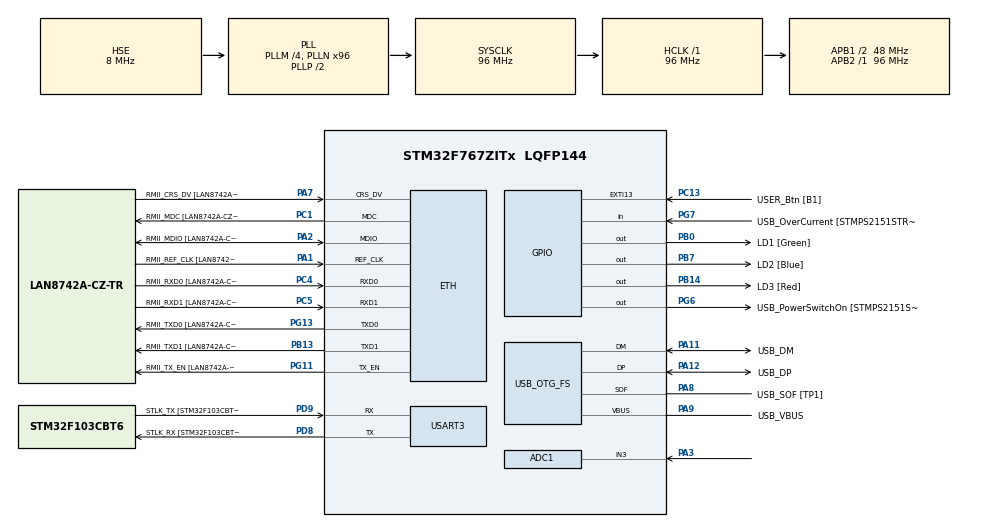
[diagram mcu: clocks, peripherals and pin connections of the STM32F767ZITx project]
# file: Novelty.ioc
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ADC1.Channel-0\#ChannelRegularConversion=ADC_CHANNEL_3
ADC1.ClockPrescaler=ADC_CLOCK_SYNC_PCLK_DIV8
ADC1.ContinuousConvMode=ENABLE
ADC1.DMAContinuousRequests=DISABLE
ADC1.NbrOfConversionFlag=1
ADC1.Rank-0\#ChannelRegularConversion=1
ADC1.SamplingTime-0\#ChannelRegularConversion=ADC_SAMPLETIME_3CYCLES
ADC1.master=1
ETH.MediaInterface=HAL_ETH_RMII_MODE
ETH.PHY_Name=LAN8742A_PHY_ADDRESS
ETH.PHY_Value=0
ETH.PhyAddress=0
Mcu.Family=STM32F7
Mcu.Name=STM32F767ZITx
Mcu.Package=LQFP144
NVIC.EXTI15_10_IRQn=true\:0\:0\:false\:false\:true\:true\:true\:true
NVIC.PriorityGroup=NVIC_PRIORITYGROUP_4
NVIC.TIM6_DAC_IRQn=true\:0\:0\:false\:false\:true\:true\:true\:true
PA1.GPIO_Label=RMII_REF_CLK [LAN8742A-CZ-TR_REFCLK0]
PA1.Mode=RMII
PA1.Signal=ETH_REF_CLK
PA10.GPIO_Label=USB_ID
PA10.Signal=USB_OTG_FS_ID
PA11.GPIO_Label=USB_DM
PA11.Mode=Device_Only
PA11.Signal=USB_OTG_FS_DM
PA12.GPIO_Label=USB_DP
PA12.Mode=Device_Only
PA12.Signal=USB_OTG_FS_DP
PA13.GPIO_Label=TMS
PA13.Mode=Serial_Wire
PA13.Signal=SYS_JTMS-SWDIO
PA14.GPIO_Label=TCK
PA14.Mode=Serial_Wire
PA14.Signal=SYS_JTCK-SWCLK
PA2.GPIO_Label=RMII_MDIO [LAN8742A-CZ-TR_MDIO]
PA2.Mode=RMII
PA2.Signal=ETH_MDIO
PA3.Signal=ADCx_IN3
PA7.GPIO_Label=RMII_CRS_DV [LAN8742A-CZ-TR_CRS_DV]
PA7.Mode=RMII
PA7.Signal=ETH_CRS_DV
PA8.GPIO_Label=USB_SOF [TP1]
PA8.Mode=Activate_SOF_FS
PA8.Signal=USB_OTG_FS_SOF
PA9.GPIO_Label=USB_VBUS
PA9.Mode=Activate_VBUS
PA9.Signal=USB_OTG_FS_VBUS
PB0.GPIO_Label=LD1 [Green]
PB0.Signal=GPIO_Output
PB13.GPIO_Label=RMII_TXD1 [LAN8742A-CZ-TR_TXD1]
PB13.Mode=RMII
PB13.Signal=ETH_TXD1
PB14.GPIO_Label=LD3 [Red]
PB14.Signal=GPIO_Output
PB3.GPIO_Label=SWO
PB3.Signal=SYS_JTDO-SWO
PB7.GPIO_Label=LD2 [Blue]
PB7.Signal=GPIO_Output
PC1.GPIO_Label=RMII_MDC [LAN8742A-CZ-TR_MDC]
PC1.Mode=RMII
PC1.Signal=ETH_MDC
PC13.GPIO_Label=USER_Btn [B1]
PC13.GPIO_PuPd=GPIO_PULLDOWN
PC13.Signal=GPXTI13
PC14/OSC32_IN.Mode=LSE-External-Oscillator
PC14/OSC32_IN.Signal=RCC_OSC32_IN
PC15/OSC32_OUT.Mode=LSE-External-Oscillator
PC15/OSC32_OUT.Signal=RCC_OSC32_OUT
PC4.GPIO_Label=RMII_RXD0 [LAN8742A-CZ-TR_RXD0]
PC4.Mode=RMII
PC4.Signal=ETH_RXD0
PC5.GPIO_Label=RMII_RXD1 [LAN8742A-CZ-TR_RXD1]
PC5.Mode=RMII
PC5.Signal=ETH_RXD1
PD8.GPIO_Label=STLK_RX [STM32F103CBT6_PA3]
PD8.Mode=Asynchronous
PD8.Signal=USART3_TX
PD9.GPIO_Label=STLK_TX [STM32F103CBT6_PA2]
PD9.Mode=Asynchronous
PD9.Signal=USART3_RX
PG11.GPIO_Label=RMII_TX_EN [LAN8742A-CZ-TR_TXEN]
PG11.Mode=RMII
PG11.Signal=ETH_TX_EN
PG13.GPIO_Label=RMII_TXD0 [LAN8742A-CZ-TR_TXD0]
PG13.Mode=RMII
PG13.Signal=ETH_TXD0
PG6.GPIO_Label=USB_PowerSwitchOn [STMPS2151STR_EN]
PG6.Signal=GPIO_Output
PG7.GPIO_Label=USB_OverCurrent [STMPS2151STR_FAULT]
PG7.Signal=GPIO_Input
PH0/OSC_IN.GPIO_Label=MCO [STM32F103CBT6_PA8]
PH0/OSC_IN.Mode=HSE-External-Clock-Source
PH0/OSC_IN.Signal=RCC_OSC_IN
PH1/OSC_OUT.Mode=HSE-External-Clock-Source
PH1/OSC_OUT.Signal=RCC_OSC_OUT
ProjectManager.HeapSize=0x200
ProjectManager.StackSize=0x400
ProjectManager.TargetToolchain=STM32CubeIDE
RCC.48MHZClocksFreq_Value=24000000
RCC.AHBFreq_Value=96000000
RCC.APB1CLKDivider=RCC_HCLK_DIV2
RCC.APB1Freq_Value=48000000
RCC.APB1TimFreq_Value=96000000
RCC.APB2Freq_Value=96000000
RCC.APB2TimFreq_Value=96000000
RCC.CortexFreq_Value=96000000
RCC.HCLKFreq_Value=96000000
RCC.HSE_VALUE=8000000
RCC.HSI_VALUE=16000000
RCC.PLLM=4
RCC.PLLMUL=RCC_PLL_MUL9
RCC.PLLN=96
RCC.PLLQ=4
RCC.PRESCALERUSB=RCC_USBCLKSOURCE_PLL_DIV1_5
RCC.SYSCLKFreq_VALUE=96000000
RCC.SYSCLKSource=RCC_SYSCLKSOURCE_PLLCLK
RCC.SYSCLKSourceVirtual=RCC_SYSCLKSOURCE_PLLCLK
RCC.USBFreq_Value=48000000
RCC.VCOOutputFreq_Value=192000000
SH.ADCx_IN3.0=ADC1_IN3,IN3
TIM6.Period=800-1
TIM6.Prescaler=24-1
USART3.VirtualMode-Asynchronous=VM_ASYNC
USB_OTG_FS.VirtualMode=Device_Only
VP_RTC_VS_RTC_Activate.Mode=RTC_Enabled
VP_TIM6_VS_ClockSourceINT.Mode=Enable_Timer
board=NUCLEO-F767ZI

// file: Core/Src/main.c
/* USER CODE BEGIN Header */
/**
  ******************************************************************************
  * @file           : main.c
  * @brief          : Main program body
  ******************************************************************************
  * @attention
  *
  * Copyright (c) 2023 STMicroelectronics.
  * All rights reserved.
  *
  * This software is licensed under terms that can be found in the LICENSE file
  * in the root directory of this software component.
  * If no LICENSE file comes with this software, it is provided AS-IS.
  *
  ******************************************************************************
  */
/* USER CODE END Header */
#include "main.h"
#include "string.h"

/* USER CODE BEGIN Includes */
#include "mylib.h"
#include <stdbool.h>
#include <stdlib.h>
#include <stdint.h>
#include "wavelib.h"
#include "retarget.h"
/* USER CODE END Includes */

/* USER CODE BEGIN PD */
#define ADC_BUF_LEN 5000 // 5000 samples at 5kHz -> 1s snapshot
#define TREE_DEPTH 6 	// wavelet tree decomposiiton depth 6-> 2^6=64 features
/* USER CODE END PD */

#if defined ( __ICCARM__ ) /*!< IAR Compiler */
#pragma location=0x2007c000
ETH_DMADescTypeDef  DMARxDscrTab[ETH_RX_DESC_CNT]; /* Ethernet Rx DMA Descriptors */
#pragma location=0x2007c0a0
ETH_DMADescTypeDef  DMATxDscrTab[ETH_TX_DESC_CNT]; /* Ethernet Tx DMA Descriptors */

#elif defined ( __CC_ARM )  /* MDK ARM Compiler */

__attribute__((at(0x2007c000))) ETH_DMADescTypeDef  DMARxDscrTab[ETH_RX_DESC_CNT]; /* Ethernet Rx DMA Descriptors */
__attribute__((at(0x2007c0a0))) ETH_DMADescTypeDef  DMATxDscrTab[ETH_TX_DESC_CNT]; /* Ethernet Tx DMA Descriptors */

#elif defined ( __GNUC__ ) /* GNU Compiler */
ETH_DMADescTypeDef DMARxDscrTab[ETH_RX_DESC_CNT] __attribute__((section(".RxDecripSection"))); /* Ethernet Rx DMA Descriptors */
ETH_DMADescTypeDef DMATxDscrTab[ETH_TX_DESC_CNT] __attribute__((section(".TxDecripSection")));   /* Ethernet Tx DMA Descriptors */

#endif

ETH_TxPacketConfig TxConfig;

ADC_HandleTypeDef hadc1;

ETH_HandleTypeDef heth;

RTC_HandleTypeDef hrtc;

TIM_HandleTypeDef htim6;

UART_HandleTypeDef huart3;

PCD_HandleTypeDef hpcd_USB_OTG_FS;

/* USER CODE BEGIN PV */
uint16_t adc_buf[ADC_BUF_LEN]; // reserve a buffer for the analogue readings
uint16_t timer_index;
bool snap_flag;

/* USER CODE END PV */

void SystemClock_Config(void);
static void MX_GPIO_Init(void);
static void MX_USART3_UART_Init(void);
static void MX_USB_OTG_FS_PCD_Init(void);
static void MX_ADC1_Init(void);
static void MX_ETH_Init(void);
static void MX_TIM6_Init(void);
static void MX_RTC_Init(void);

int main(void)
{
  /* USER CODE BEGIN 1 */
	timer_index = 0;
	snap_flag = true; // begin with inibiiton of acquisition, set to false later

  /* USER CODE END 1 */

  /* MCU Configuration--------------------------------------------------------*/

  /* Reset of all peripherals, Initializes the Flash interface and the Systick. */
  HAL_Init();

  /* Configure the system clock */
  SystemClock_Config();

  /* USER CODE BEGIN SysInit */
  RetargetInit(&huart3); // redirect the printf() and scanf() function to huart
  /* USER CODE END SysInit */

  /* Initialize all configured peripherals */
  MX_GPIO_Init();
  MX_USART3_UART_Init();
  MX_USB_OTG_FS_PCD_Init();
  MX_ADC1_Init();
  MX_ETH_Init();
  MX_TIM6_Init();
  MX_RTC_Init();
  /* USER CODE BEGIN 2 */
  HAL_TIM_Base_Start_IT(&htim6);  // start the timer
  /* USER CODE END 2 */

  /* Infinite loop */
  while (1){

  }
}

void SystemClock_Config(void)
{
  RCC_OscInitTypeDef RCC_OscInitStruct = {0};
  RCC_ClkInitTypeDef RCC_ClkInitStruct = {0};

  /** Configure LSE Drive Capability
  */
  HAL_PWR_EnableBkUpAccess();

  /** Configure the main internal regulator output voltage
  */
  __HAL_RCC_PWR_CLK_ENABLE();
  __HAL_PWR_VOLTAGESCALING_CONFIG(PWR_REGULATOR_VOLTAGE_SCALE3);

  /** Initializes the RCC Oscillators according to the specified parameters
  * in the RCC_OscInitTypeDef structure.
  */
  RCC_OscInitStruct.OscillatorType = RCC_OSCILLATORTYPE_LSI|RCC_OSCILLATORTYPE_HSE;
  RCC_OscInitStruct.HSEState = RCC_HSE_BYPASS;
  RCC_OscInitStruct.LSIState = RCC_LSI_ON;
  RCC_OscInitStruct.PLL.PLLState = RCC_PLL_ON;
  RCC_OscInitStruct.PLL.PLLSource = RCC_PLLSOURCE_HSE;
  RCC_OscInitStruct.PLL.PLLM = 4;
  RCC_OscInitStruct.PLL.PLLN = 96;
  RCC_OscInitStruct.PLL.PLLP = RCC_PLLP_DIV2;
  RCC_OscInitStruct.PLL.PLLQ = 4;
  RCC_OscInitStruct.PLL.PLLR = 2;
  if (HAL_RCC_OscConfig(&RCC_OscInitStruct) != HAL_OK)
  {
    Error_Handler();
  }

  /** Activate the Over-Drive mode
  */
  if (HAL_PWREx_EnableOverDrive() != HAL_OK)
  {
    Error_Handler();
  }

  /** Initializes the CPU, AHB and APB buses clocks
  */
  RCC_ClkInitStruct.ClockType = RCC_CLOCKTYPE_HCLK|RCC_CLOCKTYPE_SYSCLK
                              |RCC_CLOCKTYPE_PCLK1|RCC_CLOCKTYPE_PCLK2;
  RCC_ClkInitStruct.SYSCLKSource = RCC_SYSCLKSOURCE_PLLCLK;
  RCC_ClkInitStruct.AHBCLKDivider = RCC_SYSCLK_DIV1;
  RCC_ClkInitStruct.APB1CLKDivider = RCC_HCLK_DIV2;
  RCC_ClkInitStruct.APB2CLKDivider = RCC_HCLK_DIV1;

  if (HAL_RCC_ClockConfig(&RCC_ClkInitStruct, FLASH_LATENCY_3) != HAL_OK)
  {
    Error_Handler();
  }
}

static void MX_ADC1_Init(void)
{

  ADC_ChannelConfTypeDef sConfig = {0};

  /** Configure the global features of the ADC (Clock, Resolution, Data Alignment and number of conversion)
  */
  hadc1.Instance = ADC1;
  hadc1.Init.ClockPrescaler = ADC_CLOCK_SYNC_PCLK_DIV8;
  hadc1.Init.Resolution = ADC_RESOLUTION_12B;
  hadc1.Init.ScanConvMode = ADC_SCAN_DISABLE;
  hadc1.Init.ContinuousConvMode = ENABLE;
  hadc1.Init.DiscontinuousConvMode = DISABLE;
  hadc1.Init.ExternalTrigConvEdge = ADC_EXTERNALTRIGCONVEDGE_NONE;
  hadc1.Init.ExternalTrigConv = ADC_SOFTWARE_START;
  hadc1.Init.DataAlign = ADC_DATAALIGN_RIGHT;
  hadc1.Init.NbrOfConversion = 1;
  hadc1.Init.DMAContinuousRequests = DISABLE;
  hadc1.Init.EOCSelection = ADC_EOC_SINGLE_CONV;
  if (HAL_ADC_Init(&hadc1) != HAL_OK)
  {
    Error_Handler();
  }

  /** Configure for the selected ADC regular channel its corresponding rank in the sequencer and its sample time.
  */
  sConfig.Channel = ADC_CHANNEL_3;
  sConfig.Rank = ADC_REGULAR_RANK_1;
  sConfig.SamplingTime = ADC_SAMPLETIME_3CYCLES;
  if (HAL_ADC_ConfigChannel(&hadc1, &sConfig) != HAL_OK)
  {
    Error_Handler();
  }

}

static void MX_ETH_Init(void)
{

   static uint8_t MACAddr[6];

  heth.Instance = ETH;
  MACAddr[0] = 0x00;
  MACAddr[1] = 0x80;
  MACAddr[2] = 0xE1;
  MACAddr[3] = 0x00;
  MACAddr[4] = 0x00;
  MACAddr[5] = 0x00;
  heth.Init.MACAddr = &MACAddr[0];
  heth.Init.MediaInterface = HAL_ETH_RMII_MODE;
  heth.Init.TxDesc = DMATxDscrTab;
  heth.Init.RxDesc = DMARxDscrTab;
  heth.Init.RxBuffLen = 1524;

  if (HAL_ETH_Init(&heth) != HAL_OK)
  {
    Error_Handler();
  }

  memset(&TxConfig, 0 , sizeof(ETH_TxPacketConfig));
  TxConfig.Attributes = ETH_TX_PACKETS_FEATURES_CSUM | ETH_TX_PACKETS_FEATURES_CRCPAD;
  TxConfig.ChecksumCtrl = ETH_CHECKSUM_IPHDR_PAYLOAD_INSERT_PHDR_CALC;
  TxConfig.CRCPadCtrl = ETH_CRC_PAD_INSERT;

}

static void MX_RTC_Init(void)
{

  /** Initialize RTC Only
  */
  hrtc.Instance = RTC;
  hrtc.Init.HourFormat = RTC_HOURFORMAT_24;
  hrtc.Init.AsynchPrediv = 127;
  hrtc.Init.SynchPrediv = 255;
  hrtc.Init.OutPut = RTC_OUTPUT_DISABLE;
  hrtc.Init.OutPutPolarity = RTC_OUTPUT_POLARITY_HIGH;
  hrtc.Init.OutPutType = RTC_OUTPUT_TYPE_OPENDRAIN;
  if (HAL_RTC_Init(&hrtc) != HAL_OK)
  {
    Error_Handler();
  }

}

static void MX_TIM6_Init(void)
{

  TIM_MasterConfigTypeDef sMasterConfig = {0};

  htim6.Instance = TIM6;
  htim6.Init.Prescaler = 24-1;
  htim6.Init.CounterMode = TIM_COUNTERMODE_UP;
  htim6.Init.Period = 800-1;
  htim6.Init.AutoReloadPreload = TIM_AUTORELOAD_PRELOAD_DISABLE;
  if (HAL_TIM_Base_Init(&htim6) != HAL_OK)
  {
    Error_Handler();
  }
  sMasterConfig.MasterOutputTrigger = TIM_TRGO_RESET;
  sMasterConfig.MasterSlaveMode = TIM_MASTERSLAVEMODE_DISABLE;
  if (HAL_TIMEx_MasterConfigSynchronization(&htim6, &sMasterConfig) != HAL_OK)
  {
    Error_Handler();
  }

}

static void MX_USART3_UART_Init(void)
{

  huart3.Instance = USART3;
  huart3.Init.BaudRate = 115200;
  huart3.Init.WordLength = UART_WORDLENGTH_8B;
  huart3.Init.StopBits = UART_STOPBITS_1;
  huart3.Init.Parity = UART_PARITY_NONE;
  huart3.Init.Mode = UART_MODE_TX_RX;
  huart3.Init.HwFlowCtl = UART_HWCONTROL_NONE;
  huart3.Init.OverSampling = UART_OVERSAMPLING_16;
  huart3.Init.OneBitSampling = UART_ONE_BIT_SAMPLE_DISABLE;
  huart3.AdvancedInit.AdvFeatureInit = UART_ADVFEATURE_NO_INIT;
  if (HAL_UART_Init(&huart3) != HAL_OK)
  {
    Error_Handler();
  }

}

static void MX_USB_OTG_FS_PCD_Init(void)
{

  hpcd_USB_OTG_FS.Instance = USB_OTG_FS;
  hpcd_USB_OTG_FS.Init.dev_endpoints = 6;
  hpcd_USB_OTG_FS.Init.speed = PCD_SPEED_FULL;
  hpcd_USB_OTG_FS.Init.dma_enable = DISABLE;
  hpcd_USB_OTG_FS.Init.phy_itface = PCD_PHY_EMBEDDED;
  hpcd_USB_OTG_FS.Init.Sof_enable = ENABLE;
  hpcd_USB_OTG_FS.Init.low_power_enable = DISABLE;
  hpcd_USB_OTG_FS.Init.lpm_enable = DISABLE;
  hpcd_USB_OTG_FS.Init.vbus_sensing_enable = ENABLE;
  hpcd_USB_OTG_FS.Init.use_dedicated_ep1 = DISABLE;
  if (HAL_PCD_Init(&hpcd_USB_OTG_FS) != HAL_OK)
  {
    Error_Handler();
  }

}

static void MX_GPIO_Init(void)
{
  GPIO_InitTypeDef GPIO_InitStruct = {0};

  /* GPIO Ports Clock Enable */
  __HAL_RCC_GPIOC_CLK_ENABLE();
  __HAL_RCC_GPIOH_CLK_ENABLE();
  __HAL_RCC_GPIOA_CLK_ENABLE();
  __HAL_RCC_GPIOB_CLK_ENABLE();
  __HAL_RCC_GPIOD_CLK_ENABLE();
  __HAL_RCC_GPIOG_CLK_ENABLE();

  /*Configure GPIO pin Output Level */
  HAL_GPIO_WritePin(GPIOB, LD1_Pin|LD3_Pin|LD2_Pin, GPIO_PIN_RESET);

  /*Configure GPIO pin Output Level */
  HAL_GPIO_WritePin(USB_PowerSwitchOn_GPIO_Port, USB_PowerSwitchOn_Pin, GPIO_PIN_RESET);

  /*Configure GPIO pin : USER_Btn_Pin */
  GPIO_InitStruct.Pin = USER_Btn_Pin;
  GPIO_InitStruct.Mode = GPIO_MODE_IT_RISING;
  GPIO_InitStruct.Pull = GPIO_PULLDOWN;
  HAL_GPIO_Init(USER_Btn_GPIO_Port, &GPIO_InitStruct);

  /*Configure GPIO pins : LD1_Pin LD3_Pin LD2_Pin */
  GPIO_InitStruct.Pin = LD1_Pin|LD3_Pin|LD2_Pin;
  GPIO_InitStruct.Mode = GPIO_MODE_OUTPUT_PP;
  GPIO_InitStruct.Pull = GPIO_NOPULL;
  GPIO_InitStruct.Speed = GPIO_SPEED_FREQ_LOW;
  HAL_GPIO_Init(GPIOB, &GPIO_InitStruct);

  /*Configure GPIO pin : USB_PowerSwitchOn_Pin */
  GPIO_InitStruct.Pin = USB_PowerSwitchOn_Pin;
  GPIO_InitStruct.Mode = GPIO_MODE_OUTPUT_PP;
  GPIO_InitStruct.Pull = GPIO_NOPULL;
  GPIO_InitStruct.Speed = GPIO_SPEED_FREQ_LOW;
  HAL_GPIO_Init(USB_PowerSwitchOn_GPIO_Port, &GPIO_InitStruct);

  /*Configure GPIO pin : USB_OverCurrent_Pin */
  GPIO_InitStruct.Pin = USB_OverCurrent_Pin;
  GPIO_InitStruct.Mode = GPIO_MODE_INPUT;
  GPIO_InitStruct.Pull = GPIO_NOPULL;
  HAL_GPIO_Init(USB_OverCurrent_GPIO_Port, &GPIO_InitStruct);

  /* EXTI interrupt init*/
  HAL_NVIC_SetPriority(EXTI15_10_IRQn, 0, 0);
  HAL_NVIC_EnableIRQ(EXTI15_10_IRQn);

}

/* USER CODE BEGIN 4 */
void HAL_GPIO_EXTI_Callback(uint16_t GPIO_Pin) // GPIO interrupt handler
{
	if(GPIO_Pin == 0x2000){ // if user btn is pressed
		snap_flag = false; //request a snapshot
	}
	else{
		printf("Unknown GPIO interrupt happened");
	}
}

void HAL_TIM_PeriodElapsedCallback(TIM_HandleTypeDef *htim){
	if(htim == &htim6 && snap_flag == false){ // if the timer is the analog management and the conversion is not already done
		// Get ADC value
		    HAL_ADC_Start(&hadc1);
		    HAL_ADC_PollForConversion(&hadc1, HAL_MAX_DELAY);
		    adc_buf[timer_index]= HAL_ADC_GetValue(&hadc1); // save the value in the array
		    HAL_GPIO_TogglePin(GPIOB, GPIO_PIN_0);
		    timer_index ++;
		    if(timer_index>=ADC_BUF_LEN){
		    	timer_index=0;
		    	SnapReadyCallback(adc_buf, ADC_BUF_LEN, TREE_DEPTH);
		    	snap_flag = true; // conversion complete flag
		    }
	}
}

void printTimestamp(){
char timestamp[18];
	RTC_TimeTypeDef sTime;
	RTC_DateTypeDef sDate;
	HAL_RTC_GetDate(&hrtc, &sDate, RTC_FORMAT_BIN);
	HAL_RTC_GetTime(&hrtc, &sTime, RTC_FORMAT_BIN);
	sprintf(timestamp,"%02d-%02d-%02d %02d:%02d:%02d",sDate.Year,sDate.Month,sDate.Date,sTime.Hours,sTime.Minutes,sTime.Seconds);
	printf(timestamp);
}
/* USER CODE END 4 */

void Error_Handler(void)
{
  /* USER CODE BEGIN Error_Handler_Debug */
  /* User can add his own implementation to report the HAL error return state */
  __disable_irq();
  while (1)
  {
	  HAL_GPIO_TogglePin(GPIOB, GPIO_PIN_14);
  }
  /* USER CODE END Error_Handler_Debug */
}
